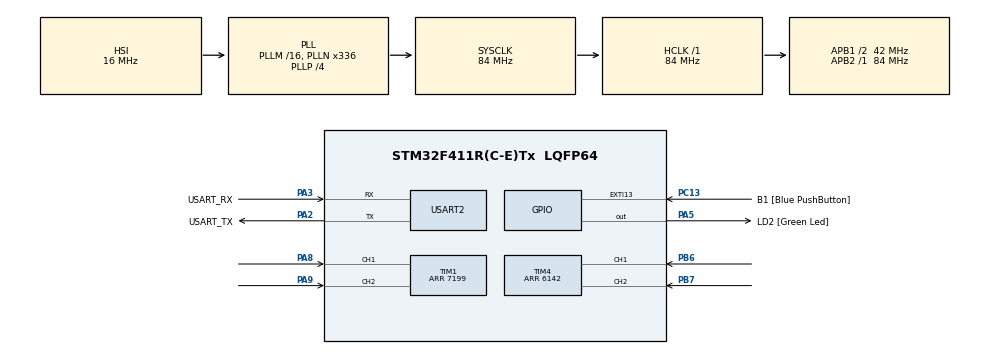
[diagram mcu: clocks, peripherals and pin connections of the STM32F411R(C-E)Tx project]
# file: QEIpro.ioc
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Mcu.Family=STM32F4
Mcu.Name=STM32F411R(C-E)Tx
Mcu.Package=LQFP64
NVIC.PriorityGroup=NVIC_PRIORITYGROUP_0
NVIC.TIM1_TRG_COM_TIM11_IRQn=true\:0\:0\:false\:false\:true\:true\:true
PA13.GPIO_Label=TMS
PA13.Mode=Serial_Wire
PA13.Signal=SYS_JTMS-SWDIO
PA14.GPIO_Label=TCK
PA14.Mode=Serial_Wire
PA14.Signal=SYS_JTCK-SWCLK
PA2.GPIO_Label=USART_TX
PA2.Mode=Asynchronous
PA2.Signal=USART2_TX
PA3.GPIO_Label=USART_RX
PA3.Mode=Asynchronous
PA3.Signal=USART2_RX
PA5.GPIO_Label=LD2 [Green Led]
PA5.Signal=GPIO_Output
PA8.Signal=S_TIM1_CH1
PA9.Signal=S_TIM1_CH2
PB3.GPIO_Label=SWO
PB3.Signal=SYS_JTDO-SWO
PB6.Signal=S_TIM4_CH1
PB7.Signal=S_TIM4_CH2
PC13-ANTI_TAMP.GPIO_Label=B1 [Blue PushButton]
PC13-ANTI_TAMP.GPIO_ModeDefaultEXTI=GPIO_MODE_IT_FALLING
PC13-ANTI_TAMP.Signal=GPXTI13
PC14-OSC32_IN.Mode=LSE-External-Oscillator
PC14-OSC32_IN.Signal=RCC_OSC32_IN
PC15-OSC32_OUT.Mode=LSE-External-Oscillator
PC15-OSC32_OUT.Signal=RCC_OSC32_OUT
PH0\ -\ OSC_IN.Mode=HSE-External-Clock-Source
PH0\ -\ OSC_IN.Signal=RCC_OSC_IN
PH1\ -\ OSC_OUT.Mode=HSE-External-Clock-Source
PH1\ -\ OSC_OUT.Signal=RCC_OSC_OUT
ProjectManager.HeapSize=0x200
ProjectManager.StackSize=0x400
ProjectManager.TargetToolchain=STM32CubeIDE
RCC.48MHZClocksFreq_Value=84000000
RCC.AHBFreq_Value=84000000
RCC.APB1CLKDivider=RCC_HCLK_DIV2
RCC.APB1Freq_Value=42000000
RCC.APB1TimFreq_Value=84000000
RCC.APB2Freq_Value=84000000
RCC.APB2TimFreq_Value=84000000
RCC.CortexFreq_Value=84000000
RCC.FLatency-AdvancedSettings=FLASH_LATENCY_2
RCC.HCLKFreq_Value=84000000
RCC.HSE_VALUE=8000000
RCC.HSI_VALUE=16000000
RCC.PLLN=336
RCC.PLLP=RCC_PLLP_DIV4
RCC.SYSCLKFreq_VALUE=84000000
RCC.SYSCLKSource=RCC_SYSCLKSOURCE_PLLCLK
RCC.VCOOutputFreq_Value=336000000
SH.S_TIM1_CH1.0=TIM1_CH1,Encoder_Interface
SH.S_TIM1_CH2.0=TIM1_CH2,Encoder_Interface
SH.S_TIM4_CH1.0=TIM4_CH1,Encoder_Interface
SH.S_TIM4_CH2.0=TIM4_CH2,Encoder_Interface
TIM1.EncoderMode=TIM_ENCODERMODE_TI12
TIM1.Period=7199
TIM11.Prescaler=99
TIM4.EncoderMode=TIM_ENCODERMODE_TI12
TIM4.Period=6142
USART2.VirtualMode=VM_ASYNC
VP_TIM11_VS_ClockSourceINT.Mode=Enable_Timer
board=NUCLEO-F411RE

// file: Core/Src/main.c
/* USER CODE BEGIN Header */
/**
  ******************************************************************************
  * @file           : main.c
  * @brief          : Main program body
  ******************************************************************************
  * @attention
  *
  * Copyright (c) 2022 STMicroelectronics.
  * All rights reserved.
  *
  * This software is licensed under terms that can be found in the LICENSE file
  * in the root directory of this software component.
  * If no LICENSE file comes with this software, it is provided AS-IS.
  *
  ******************************************************************************
  */
/* USER CODE END Header */
#include "main.h"

TIM_HandleTypeDef htim1;
TIM_HandleTypeDef htim4;
TIM_HandleTypeDef htim11;

UART_HandleTypeDef huart2;

/* USER CODE BEGIN PV */
int32_t unwrap = 0,step = 0;
int32_t signal[2] = {0};
uint64_t timeStamp=0,_micro = 0;
int32_t setPoint = 0;
int16_t PWMoutput = 0;
float Kp=1,Ki=0.1,Kd=0;
float dt = 0.01;
int32_t error[3] = {0};
/* USER CODE END PV */

void SystemClock_Config(void);
static void MX_GPIO_Init(void);
static void MX_USART2_UART_Init(void);
static void MX_TIM11_Init(void);
static void MX_TIM1_Init(void);
static void MX_TIM4_Init(void);

/* USER CODE BEGIN 0 */
uint64_t micros();
void motor(int16_t);
/* USER CODE END 0 */

int main(void)
{

  /* MCU Configuration--------------------------------------------------------*/

  /* Reset of all peripherals, Initializes the Flash interface and the Systick. */
  HAL_Init();

  /* Configure the system clock */
  SystemClock_Config();

  /* Initialize all configured peripherals */
  MX_GPIO_Init();
  MX_USART2_UART_Init();
  MX_TIM11_Init();
  MX_TIM1_Init();
  MX_TIM4_Init();
  /* USER CODE BEGIN 2 */
  HAL_TIM_Encoder_Start(&htim1, TIM_CHANNEL_ALL);
  HAL_TIM_Base_Start_IT(&htim11);
  signal[1] = TIM1->CNT;
  /* USER CODE END 2 */

  /* Infinite loop */
  /* USER CODE BEGIN WHILE */
  while (1)
  {
	  signal[0] = TIM1->CNT;
	  /*if(HAL_GetTick()>10000){
		  setPoint = 5000;
	  }
	  else if(HAL_GetTick()>1000){
		  setPoint = -5000;
	  }
	  if(micros()-timeStamp>1000){
		  timeStamp = micros();
		  signal[0] = TIM3->CNT;
		  if(signal[0]-signal[1]>=2000){
			  step -= 3071;
		  }
		  else if(signal[0]-signal[1]<-2000){
			  step += 3071;
		  }
		  unwrap = signal[0] + step;
		  error[0] = setPoint - unwrap;
		  if(error[0]>999){
			  error[0]=999;
		  }
		  else if(error[0]<-999){
			  error[0]=-999;
		  }
		  PWMoutput = PWMoutput + (Kp*(error[0]-error[1]) + Ki*error[0]*dt + Kd*(error[0]-2*error[1]-error[2])/dt);
		  motor(PWMoutput);
		  signal[1]=signal[0];
		  error[2]=error[1];
		  error[1]=error[0];
	  }*/
    /* USER CODE END WHILE */

  }
}

void SystemClock_Config(void)
{
  RCC_OscInitTypeDef RCC_OscInitStruct = {0};
  RCC_ClkInitTypeDef RCC_ClkInitStruct = {0};

  /** Configure the main internal regulator output voltage
  */
  __HAL_RCC_PWR_CLK_ENABLE();
  __HAL_PWR_VOLTAGESCALING_CONFIG(PWR_REGULATOR_VOLTAGE_SCALE1);
  /** Initializes the RCC Oscillators according to the specified parameters
  * in the RCC_OscInitTypeDef structure.
  */
  RCC_OscInitStruct.OscillatorType = RCC_OSCILLATORTYPE_HSI;
  RCC_OscInitStruct.HSIState = RCC_HSI_ON;
  RCC_OscInitStruct.HSICalibrationValue = RCC_HSICALIBRATION_DEFAULT;
  RCC_OscInitStruct.PLL.PLLState = RCC_PLL_ON;
  RCC_OscInitStruct.PLL.PLLSource = RCC_PLLSOURCE_HSI;
  RCC_OscInitStruct.PLL.PLLM = 16;
  RCC_OscInitStruct.PLL.PLLN = 336;
  RCC_OscInitStruct.PLL.PLLP = RCC_PLLP_DIV4;
  RCC_OscInitStruct.PLL.PLLQ = 4;
  if (HAL_RCC_OscConfig(&RCC_OscInitStruct) != HAL_OK)
  {
    Error_Handler();
  }
  /** Initializes the CPU, AHB and APB buses clocks
  */
  RCC_ClkInitStruct.ClockType = RCC_CLOCKTYPE_HCLK|RCC_CLOCKTYPE_SYSCLK
                              |RCC_CLOCKTYPE_PCLK1|RCC_CLOCKTYPE_PCLK2;
  RCC_ClkInitStruct.SYSCLKSource = RCC_SYSCLKSOURCE_PLLCLK;
  RCC_ClkInitStruct.AHBCLKDivider = RCC_SYSCLK_DIV1;
  RCC_ClkInitStruct.APB1CLKDivider = RCC_HCLK_DIV2;
  RCC_ClkInitStruct.APB2CLKDivider = RCC_HCLK_DIV1;

  if (HAL_RCC_ClockConfig(&RCC_ClkInitStruct, FLASH_LATENCY_2) != HAL_OK)
  {
    Error_Handler();
  }
}

static void MX_TIM1_Init(void)
{

  TIM_Encoder_InitTypeDef sConfig = {0};
  TIM_MasterConfigTypeDef sMasterConfig = {0};

  htim1.Instance = TIM1;
  htim1.Init.Prescaler = 0;
  htim1.Init.CounterMode = TIM_COUNTERMODE_UP;
  htim1.Init.Period = 7199;
  htim1.Init.ClockDivision = TIM_CLOCKDIVISION_DIV1;
  htim1.Init.RepetitionCounter = 0;
  htim1.Init.AutoReloadPreload = TIM_AUTORELOAD_PRELOAD_DISABLE;
  sConfig.EncoderMode = TIM_ENCODERMODE_TI12;
  sConfig.IC1Polarity = TIM_ICPOLARITY_RISING;
  sConfig.IC1Selection = TIM_ICSELECTION_DIRECTTI;
  sConfig.IC1Prescaler = TIM_ICPSC_DIV1;
  sConfig.IC1Filter = 0;
  sConfig.IC2Polarity = TIM_ICPOLARITY_RISING;
  sConfig.IC2Selection = TIM_ICSELECTION_DIRECTTI;
  sConfig.IC2Prescaler = TIM_ICPSC_DIV1;
  sConfig.IC2Filter = 0;
  if (HAL_TIM_Encoder_Init(&htim1, &sConfig) != HAL_OK)
  {
    Error_Handler();
  }
  sMasterConfig.MasterOutputTrigger = TIM_TRGO_RESET;
  sMasterConfig.MasterSlaveMode = TIM_MASTERSLAVEMODE_DISABLE;
  if (HAL_TIMEx_MasterConfigSynchronization(&htim1, &sMasterConfig) != HAL_OK)
  {
    Error_Handler();
  }

}

static void MX_TIM4_Init(void)
{

  TIM_Encoder_InitTypeDef sConfig = {0};
  TIM_MasterConfigTypeDef sMasterConfig = {0};

  htim4.Instance = TIM4;
  htim4.Init.Prescaler = 0;
  htim4.Init.CounterMode = TIM_COUNTERMODE_UP;
  htim4.Init.Period = 6142;
  htim4.Init.ClockDivision = TIM_CLOCKDIVISION_DIV1;
  htim4.Init.AutoReloadPreload = TIM_AUTORELOAD_PRELOAD_DISABLE;
  sConfig.EncoderMode = TIM_ENCODERMODE_TI12;
  sConfig.IC1Polarity = TIM_ICPOLARITY_RISING;
  sConfig.IC1Selection = TIM_ICSELECTION_DIRECTTI;
  sConfig.IC1Prescaler = TIM_ICPSC_DIV1;
  sConfig.IC1Filter = 0;
  sConfig.IC2Polarity = TIM_ICPOLARITY_RISING;
  sConfig.IC2Selection = TIM_ICSELECTION_DIRECTTI;
  sConfig.IC2Prescaler = TIM_ICPSC_DIV1;
  sConfig.IC2Filter = 0;
  if (HAL_TIM_Encoder_Init(&htim4, &sConfig) != HAL_OK)
  {
    Error_Handler();
  }
  sMasterConfig.MasterOutputTrigger = TIM_TRGO_RESET;
  sMasterConfig.MasterSlaveMode = TIM_MASTERSLAVEMODE_DISABLE;
  if (HAL_TIMEx_MasterConfigSynchronization(&htim4, &sMasterConfig) != HAL_OK)
  {
    Error_Handler();
  }

}

static void MX_TIM11_Init(void)
{

  htim11.Instance = TIM11;
  htim11.Init.Prescaler = 99;
  htim11.Init.CounterMode = TIM_COUNTERMODE_UP;
  htim11.Init.Period = 65535;
  htim11.Init.ClockDivision = TIM_CLOCKDIVISION_DIV1;
  htim11.Init.AutoReloadPreload = TIM_AUTORELOAD_PRELOAD_DISABLE;
  if (HAL_TIM_Base_Init(&htim11) != HAL_OK)
  {
    Error_Handler();
  }

}

static void MX_USART2_UART_Init(void)
{

  huart2.Instance = USART2;
  huart2.Init.BaudRate = 115200;
  huart2.Init.WordLength = UART_WORDLENGTH_8B;
  huart2.Init.StopBits = UART_STOPBITS_1;
  huart2.Init.Parity = UART_PARITY_NONE;
  huart2.Init.Mode = UART_MODE_TX_RX;
  huart2.Init.HwFlowCtl = UART_HWCONTROL_NONE;
  huart2.Init.OverSampling = UART_OVERSAMPLING_16;
  if (HAL_UART_Init(&huart2) != HAL_OK)
  {
    Error_Handler();
  }

}

static void MX_GPIO_Init(void)
{
  GPIO_InitTypeDef GPIO_InitStruct = {0};

  /* GPIO Ports Clock Enable */
  __HAL_RCC_GPIOC_CLK_ENABLE();
  __HAL_RCC_GPIOH_CLK_ENABLE();
  __HAL_RCC_GPIOA_CLK_ENABLE();
  __HAL_RCC_GPIOB_CLK_ENABLE();

  /*Configure GPIO pin Output Level */
  HAL_GPIO_WritePin(LD2_GPIO_Port, LD2_Pin, GPIO_PIN_RESET);

  /*Configure GPIO pin : B1_Pin */
  GPIO_InitStruct.Pin = B1_Pin;
  GPIO_InitStruct.Mode = GPIO_MODE_IT_FALLING;
  GPIO_InitStruct.Pull = GPIO_NOPULL;
  HAL_GPIO_Init(B1_GPIO_Port, &GPIO_InitStruct);

  /*Configure GPIO pin : LD2_Pin */
  GPIO_InitStruct.Pin = LD2_Pin;
  GPIO_InitStruct.Mode = GPIO_MODE_OUTPUT_PP;
  GPIO_InitStruct.Pull = GPIO_NOPULL;
  GPIO_InitStruct.Speed = GPIO_SPEED_FREQ_LOW;
  HAL_GPIO_Init(LD2_GPIO_Port, &GPIO_InitStruct);

}

/* USER CODE BEGIN 4 */
void HAL_TIM_PeriodElapsedCallback(TIM_HandleTypeDef *htim){
	if(htim == &htim11){
		_micro += 65535;
	}
}

uint64_t micros(){
	return _micro + htim11.Instance->CNT;
}

void motor(int16_t speed){
	if(speed<0){
		__HAL_TIM_SET_COMPARE(&htim1,TIM_CHANNEL_1,-speed);
		__HAL_TIM_SET_COMPARE(&htim1,TIM_CHANNEL_2,0);
	}
	else{
		__HAL_TIM_SET_COMPARE(&htim1,TIM_CHANNEL_1,0);
		__HAL_TIM_SET_COMPARE(&htim1,TIM_CHANNEL_2,speed);
	}
}
/* USER CODE END 4 */

void Error_Handler(void)
{
  __disable_irq();
  while (1)
  {
  }
}
